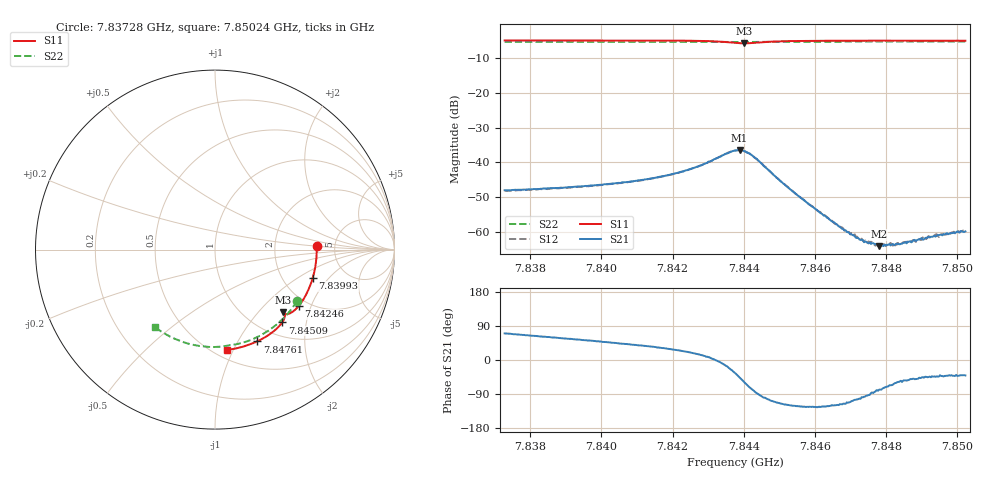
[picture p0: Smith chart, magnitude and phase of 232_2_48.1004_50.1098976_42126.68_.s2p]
#  HZ  S  RI  R  50.00
! Rohde & Schwarz Vector Network Analyzer
! Rohde-Schwarz,ZNB20-2Port,1311601062101988,3.16
! Created: UTC 12/23/2023, 3:57:51 AM
! freq[Hz]  re:S11  im:S11  re:S21  im:S21  re:S12  im:S12  re:S22  im:S22
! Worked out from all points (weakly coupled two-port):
!   401 points, 7.83728 GHz to 7.85024 GHz, reference 50 ohm
!   highest |S21| = -36.40 dB at 7.84389 GHz (marker M1); lowest = -64.1 dB at 7.84781 GHz (marker M2)
!   lowest |S11| = -5.8 dB at 7.84402 GHz (marker M3), VSWR 3.12, Z = 72.5 - j68.8 ohm
!   |S11| at or under -10 dB: nowhere
!   |S22| runs from -5.4 to -5.3 dB; largest |S21 - S12| = 0.00031
!   S11 on the Smith chart (normalised r, x): 7.83728 GHz: 3.60, +0.19; 7.83993 GHz: 2.92, -1.36; 7.84246 GHz: 1.78, -1.64; 7.84509 GHz: 1.25, -1.46; 7.84761 GHz: 0.81, -1.21; 7.85024 GHz: 0.58, -0.94
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7.837277e9  0.5663 0.0178  0.00135 0.00375  0.00137 0.00367  0.4573 -0.2864
7.839448e9  0.5528 -0.1261  0.00274 0.00361  0.00267 0.00357  0.3601 -0.4029
7.839934e9  0.5445 -0.1577  0.00312 0.0036  0.0031 0.00355  0.3342 -0.425
7.841618e9  0.5001 -0.264  0.00521 0.00335  0.00513 0.00337  0.2344 -0.488
7.842461e9  0.4659 -0.3146  0.00741 0.00277  0.00735 0.0028  0.1795 -0.5109
7.843303e9  0.4148 -0.3562  0.0119 -0.000883  0.012 -0.00101  0.1225 -0.5264
7.843757e9  0.3825 -0.3562  0.0122 -0.00834  0.0124 -0.00827  0.0919 -0.5313
7.843886e9  0.3788 -0.3518  0.0105 -0.0109  0.0105 -0.0107  0.0838 -0.5324
7.844016e9  0.3793 -0.3484  0.00753 -0.0123  0.00768 -0.0124  0.0757 -0.5336
7.844178e9  0.3837 -0.3492  0.00392 -0.0128  0.00405 -0.0127  0.0654 -0.5357
7.844405e9  0.3889 -0.3598  4.96e-05 -0.0107  0.000101 -0.0107  0.0504 -0.5384
7.845085e9  0.3741 -0.406  -0.00223 -0.00462  -0.00225 -0.00464  0.00261 -0.5428
7.845927e9  0.3323 -0.4506  -0.00128 -0.00193  -0.00129 -0.00196  -0.0568 -0.5406
7.846997e9  0.2714 -0.4925  -0.000332 -0.000869  -0.000336 -0.000865  -0.1311 -0.5283
7.847418e9  0.2461 -0.5061  -7.94e-05 -0.000725  -0.000104 -0.00075  -0.1595 -0.5207
7.847612e9  0.2344 -0.5117  5.3e-05 -0.000688  1.46e-05 -0.000709  -0.1724 -0.5167
7.847807e9  0.2226 -0.517  0.000125 -0.000614  0.00012 -0.000636  -0.1854 -0.5124
7.848098e9  0.2044 -0.5245  0.000263 -0.000615  0.000271 -0.000615  -0.2047 -0.5051
7.848228e9  0.1961 -0.5277  0.000298 -0.000575  0.00035 -0.00062  -0.213 -0.5018
7.84907e9  0.1424 -0.5446  0.000539 -0.00057  0.000565 -0.00055  -0.2662 -0.4761
7.849394e9  0.1216 -0.5496  0.000617 -0.000597  0.000672 -0.000627  -0.2859 -0.465
7.850236e9  0.0661 -0.5586  0.000774 -0.000668  0.000789 -0.000683  -0.3348 -0.4315
